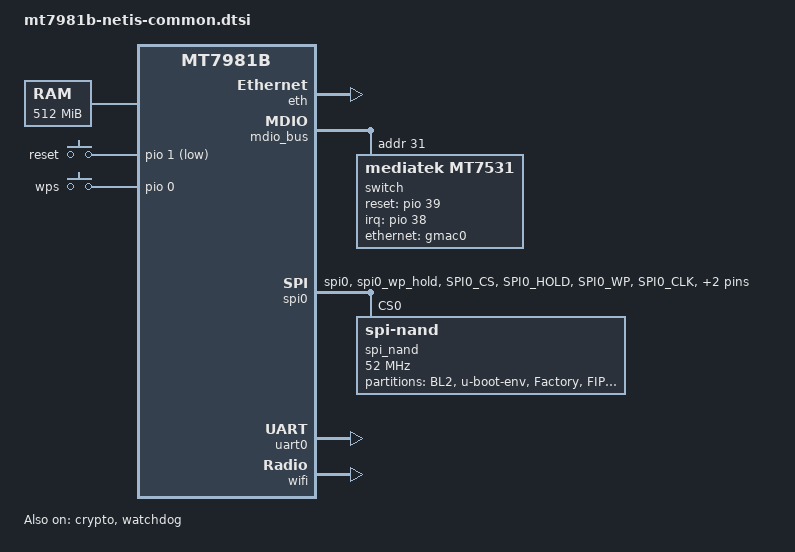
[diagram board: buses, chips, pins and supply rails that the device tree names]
// SPDX-License-Identifier: (GPL-2.0 OR MIT)

/dts-v1/;
#include "mt7981b.dtsi"

/ {
	aliases {
		serial0 = &uart0;
	};

	chosen {
		stdout-path = "serial0:115200n8";
		rootdisk = <&ubi_rootdisk>;
	};

	memory@40000000 {
		reg = <0 0x40000000 0 0x20000000>;
		device_type = "memory";
	};

	gpio-keys {
		compatible = "gpio-keys";
		reset {
			label = "reset";
			linux,code = <KEY_RESTART>;
			gpios = <&pio 1 GPIO_ACTIVE_LOW>;
		};
		wps {
			label = "wps";
			linux,code = <KEY_WPS_BUTTON>;
			gpios = <&pio 0 GPIO_ACTIVE_HIGH>;
		};
	};
};

&eth {
	status = "okay";

	gmac0: mac@0 {
		compatible = "mediatek,eth-mac";
		reg = <0>;
		phy-mode = "2500base-x";

		nvmem-cells = <&macaddr_lan>;
		nvmem-cell-names = "mac-address";

		fixed-link {
			speed = <2500>;
			full-duplex;
			pause;
		};
	};

	mac@1 {
		compatible = "mediatek,eth-mac";
		reg = <1>;
		phy-mode = "gmii";
		phy-handle = <&int_gbe_phy>;

		nvmem-cells = <&macaddr_wan>;
		nvmem-cell-names = "mac-address";
	};
};

&mdio_bus {
	switch: switch@1f {
		compatible = "mediatek,mt7531";
		reg = <31>;
		interrupt-controller;
		#interrupt-cells = <1>;
		interrupt-parent = <&pio>;
		interrupts = <38 IRQ_TYPE_LEVEL_HIGH>;
		reset-gpios = <&pio 39 GPIO_ACTIVE_HIGH>;
	};
};

&crypto {
	status = "okay";
};

&pio {
	spi0_flash_pins: spi0-pins {
		mux {
			function = "spi";
			groups = "spi0", "spi0_wp_hold";
		};
		conf-pu {
			pins = "SPI0_CS", "SPI0_HOLD", "SPI0_WP";
			drive-strength = <MTK_DRIVE_8mA>;
			bias-pull-up = <MTK_PUPD_SET_R1R0_11>;
		};
		conf-pd {
			pins = "SPI0_CLK", "SPI0_MOSI", "SPI0_MISO";
			drive-strength = <MTK_DRIVE_8mA>;
			bias-pull-down = <MTK_PUPD_SET_R1R0_11>;
		};
	};

};

&spi0 {
	pinctrl-names = "default";
	pinctrl-0 = <&spi0_flash_pins>;
	status = "okay";

	spi_nand@0 {
		compatible = "spi-nand";
		reg = <0>;
		spi-max-frequency = <52000000>;
		spi-tx-bus-width = <4>;
		spi-rx-bus-width = <4>;

		partitions {
			compatible = "fixed-partitions";
			#address-cells = <1>;
			#size-cells = <1>;

			partition@0 {
				label = "BL2";
				reg = <0x0 0x100000>;
			};

			partition@100000 {
				label = "u-boot-env";
				reg = <0x100000 0x80000>;
			};

			partition@180000 {
				label = "Factory";
				reg = <0x180000 0x200000>;
				nvmem-layout {
					compatible = "fixed-layout";
					#address-cells = <1>;
					#size-cells = <1>;

					eeprom_factory_0: eeprom@0 {
						reg = <0x0 0x1000>;
					};

					macaddr_lan: macaddr@1fef20 {
						reg = <0x1fef20 0x6>;
					};

					macaddr_wan: macaddr@1fef26 {
						reg = <0x1fef26 0x6>;
					};
				};
			};

			partition@380000 {
				label = "FIP";
				reg = <0x380000 0x200000>;
			};

			partition@580000 {
				label = "ubi";
				reg = <0x580000 0x7280000>;
				compatible = "linux,ubi";

				volumes {
					ubi_rootdisk: ubi-volume-fit {
						volname = "fit";
					};
				};
			};
		};
	};
};

&switch {
	ports {
		#address-cells = <1>;
		#size-cells = <0>;

		port@6 {
			reg = <6>;
			ethernet = <&gmac0>;
			phy-mode = "2500base-x";

			fixed-link {
				speed = <2500>;
				full-duplex;
				pause;
			};
		};
	};
};

&uart0 {
	status = "okay";
};

&watchdog {
	status = "okay";
};

&wifi {
	status = "okay";
	nvmem-cells = <&eeprom_factory_0>;
	nvmem-cell-names = "eeprom";
};
